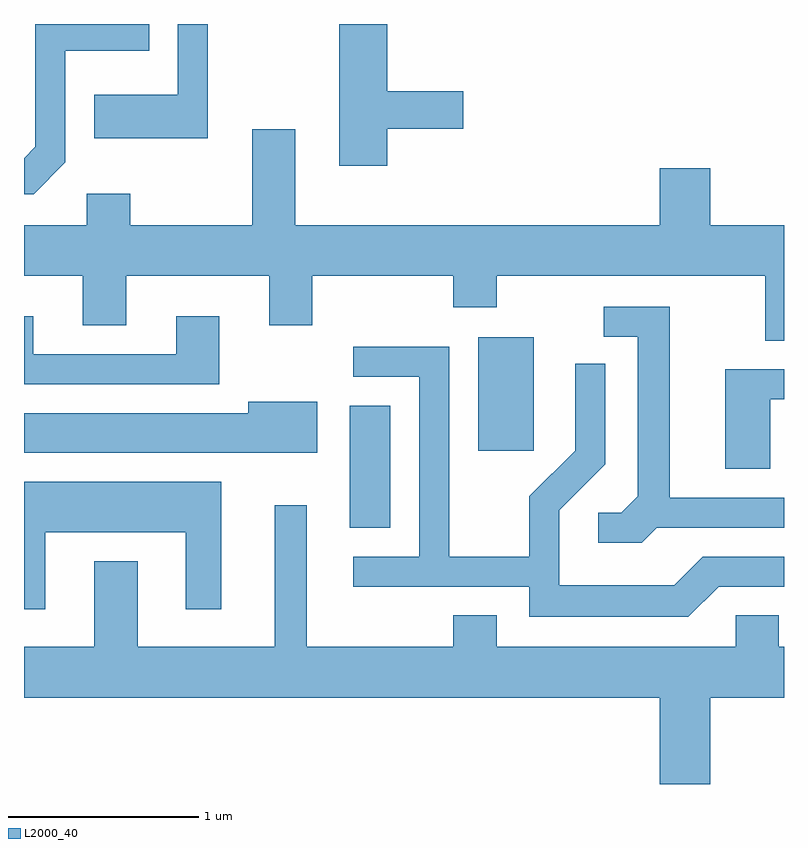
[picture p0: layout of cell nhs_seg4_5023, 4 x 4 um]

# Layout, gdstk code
import gdstk
lib = gdstk.Library(unit=1e-6, precision=1e-09)
def R(c, l, rs):  # rectangles x0, y0, x1, y1
    for r in rs: c.add(gdstk.rectangle(r[:2], r[2:], *l))
def P(c, l, *ps):  # polygons
    for p in ps: c.add(gdstk.Polygon(p, *l))
L2000_40 = (2000, 40)

nhs_seg4_5023 = lib.new_cell('nhs_seg4_5023')
R(nhs_seg4_5023, L2000_40, [(333.326,1373.331,333.539,1373.974), (334.001,1373.736,334.294,1374.334)])
P(nhs_seg4_5023, L2000_40, [(332.579,1375.982),(332.421,1375.982),(332.421,1375.609),(331.981,1375.609),(331.981,1375.381),(332.579,1375.381)],
  [(333.524,1375.431),(333.924,1375.431),(333.924,1375.629),(333.524,1375.629),(333.524,1375.982),(333.271,1375.982),(333.271,1375.236),(333.524,1375.236)],
  [(331.829,1375.254),(331.829,1375.841),(332.269,1375.841),(332.269,1375.982),(331.671,1375.982),(331.671,1375.337),(331.611,1375.276),(331.611,1375.086),(331.662,1375.086)],
  [(332.811,1375.429),(332.811,1374.924),(332.169,1374.924),(332.169,1375.089),(331.941,1375.089),(331.941,1374.924),(331.611,1374.924),(331.611,1374.656),(331.921,1374.656),(331.921,1374.396),(332.149,1374.396),(332.149,1374.656),(332.901,1374.656),(332.901,1374.396),(333.129,1374.396),(333.129,1374.656),(333.871,1374.656),(333.871,1374.491),(334.099,1374.491),(334.099,1374.656),(335.511,1374.656),(335.511,1374.316),(335.611,1374.316),(335.611,1374.924),(335.224,1374.924),(335.224,1375.224),(334.956,1375.224),(334.956,1374.924),(333.039,1374.924),(333.039,1375.429)],
  [(334.942,1373.331),(335.611,1373.331),(335.611,1373.489),(335.009,1373.489),(335.009,1374.494),(334.663,1374.494),(334.663,1374.336),(334.841,1374.336),(334.841,1373.497),(334.754,1373.409),(334.633,1373.409),(334.633,1373.251),(334.862,1373.251)],
  [(332.639,1374.444),(332.411,1374.444),(332.411,1374.244),(331.659,1374.244),(331.659,1374.444),(331.611,1374.444),(331.611,1374.086),(332.639,1374.086)],
  [(335.267,1373.021),(335.611,1373.021),(335.611,1373.179),(335.184,1373.179),(335.034,1373.029),(334.429,1373.029),(334.429,1373.424),(334.669,1373.664),(334.669,1374.193),(334.511,1374.193),(334.511,1373.737),(334.271,1373.497),(334.271,1373.179),(333.849,1373.179),(333.849,1374.284),(333.343,1374.284),(333.343,1374.126),(333.691,1374.126),(333.691,1373.179),(333.343,1373.179),(333.343,1373.021),(334.271,1373.021),(334.271,1372.861),(335.107,1372.861)],
  [(335.539,1374.006),(335.611,1374.006),(335.611,1374.164),(335.301,1374.164),(335.301,1373.641),(335.539,1373.641)],
  [(333.154,1373.994),(332.791,1373.994),(332.791,1373.934),(331.611,1373.934),(331.611,1373.726),(333.154,1373.726)],
  [(331.724,1373.306),(332.461,1373.306),(332.461,1372.901),(332.649,1372.901),(332.649,1373.574),(331.611,1373.574),(331.611,1372.901),(331.724,1372.901)],
  [(335.224,1372.436),(335.611,1372.436),(335.611,1372.704),(335.584,1372.704),(335.584,1372.869),(335.356,1372.869),(335.356,1372.704),(334.099,1372.704),(334.099,1372.869),(333.871,1372.869),(333.871,1372.704),(333.099,1372.704),(333.099,1373.448),(332.931,1373.448),(332.931,1372.704),(332.209,1372.704),(332.209,1373.154),(331.981,1373.154),(331.981,1372.704),(331.611,1372.704),(331.611,1372.436),(334.956,1372.436),(334.956,1371.982),(335.224,1371.982)])

lib.write_gds('nhs_seg4_5023.gds')
